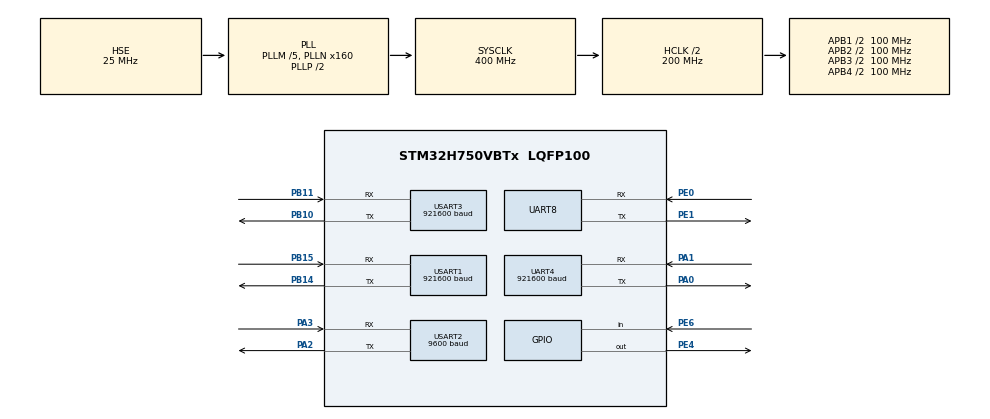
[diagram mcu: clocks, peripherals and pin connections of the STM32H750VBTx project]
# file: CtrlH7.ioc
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Dma.USART1_TX.1.Polarity=HAL_DMAMUX_REQ_GEN_RISING
Dma.UART4_TX.5.Instance=DMA1_Stream5
VP_SYS_VS_tim6.Mode=TIM6
Dma.USART2_TX.8.SyncEnable=DISABLE
Dma.UART8_RX.6.MemDataAlignment=DMA_MDATAALIGN_BYTE
PB10.Mode=Asynchronous
NVIC.TIM6_DAC_IRQn=true\:0\:0\:false\:false\:true\:false\:false\:true
Dma.UART4_TX.5.MemDataAlignment=DMA_MDATAALIGN_BYTE
Dma.USART2_RX.2.SignalID=NONE
NVIC.DMA1_Stream2_IRQn=true\:5\:0\:false\:false\:true\:true\:false\:true
Dma.USART3_RX.3.SyncEnable=DISABLE
Dma.USART2_TX.8.EventEnable=DISABLE
Dma.USART2_TX.8.Mode=DMA_NORMAL
RCC.SYSCLKSource=RCC_SYSCLKSOURCE_PLLCLK
IWDG1.Reload=4095
USART3.VirtualMode-Asynchronous=VM_ASYNC
Dma.UART4_TX.5.SignalID=NONE
FREERTOS.configENABLE_FPU=1
PA14\ (JTCK/SWCLK).Signal=DEBUG_JTCK-SWCLK
USART3.BaudRate=921600
Dma.USART3_RX.3.PeriphDataAlignment=DMA_PDATAALIGN_BYTE
Dma.UART8_RX.6.EventEnable=DISABLE
Dma.UART4_RX.4.SyncEnable=DISABLE
Dma.USART2_RX.2.Priority=DMA_PRIORITY_LOW
Dma.UART4_TX.5.Priority=DMA_PRIORITY_LOW
PE1.Signal=UART8_TX
Dma.UART8_TX.7.Polarity=HAL_DMAMUX_REQ_GEN_RISING
RCC.DIVM3=25
RCC.DIVM2=2
RCC.DIVM1=5
Dma.UART8_TX.7.PeriphDataAlignment=DMA_PDATAALIGN_BYTE
Dma.UART8_TX.7.SyncSignalID=NONE
Dma.USART2_RX.2.EventEnable=DISABLE
Dma.USART2_TX.8.SyncPolarity=HAL_DMAMUX_SYNC_NO_EVENT
PB14.Mode=Asynchronous
PA0.Mode=Asynchronous
Dma.USART1_RX.0.SyncEnable=DISABLE
Dma.USART3_RX.3.PeriphInc=DMA_PINC_DISABLE
Dma.UART8_TX.7.MemInc=DMA_MINC_ENABLE
Dma.UART8_RX.6.SyncPolarity=HAL_DMAMUX_SYNC_NO_EVENT
PA14\ (JTCK/SWCLK).Mode=Serial_Wire
Dma.UART8_RX.6.SyncEnable=DISABLE
VP_FREERTOS_VS_CMSIS_V1.Mode=CMSIS_V1
PA0.Signal=UART4_TX
Dma.UART8_TX.7.EventEnable=DISABLE
Mcu.Package=LQFP100
NVIC.TimeBase=TIM6_DAC_IRQn
Dma.UART4_RX.4.PeriphInc=DMA_PINC_DISABLE
Dma.UART4_RX.4.Polarity=HAL_DMAMUX_REQ_GEN_RISING
Dma.USART2_TX.8.MemDataAlignment=DMA_MDATAALIGN_BYTE
NVIC.TimeBaseIP=TIM6
Dma.USART2_RX.2.Direction=DMA_PERIPH_TO_MEMORY
Dma.USART3_RX.3.MemInc=DMA_MINC_ENABLE
Dma.UART4_RX.4.Mode=DMA_NORMAL
Dma.UART4_TX.5.FIFOMode=DMA_FIFOMODE_DISABLE
PC14-OSC32_IN\ (OSC32_IN).Mode=LSE-External-Oscillator
RCC.APB4Freq_Value=100000000
Dma.USART2_TX.8.Priority=DMA_PRIORITY_LOW
Dma.USART2_TX.8.PeriphInc=DMA_PINC_DISABLE
NVIC.USART1_IRQn=true\:5\:0\:false\:false\:true\:true\:true\:true
NVIC.DMA1_Stream6_IRQn=true\:5\:0\:false\:false\:true\:true\:false\:true
PH0-OSC_IN\ (PH0).Mode=HSE-External-Oscillator
RCC.SupplySource=PWR_LDO_SUPPLY
NVIC.UART4_IRQn=true\:5\:0\:false\:false\:true\:true\:true\:true
Dma.UART8_RX.6.SyncRequestNumber=1
NVIC.UART8_IRQn=true\:5\:0\:false\:false\:true\:true\:true\:true
RCC.DIVQ2=1
RCC.DIVQ1=6
FREERTOS.Tasks01=EmptyTask,-3,128,EmptyTaskFunction,Default,NULL,Dynamic,NULL,NULL;SensorTask,0,128,SensorTaskFunction,Default,NULL,Dynamic,NULL,NULL;UptoBaseTask,0,128,UptoBaseTaskFunction,Default,NULL,Dynamic,NULL,NULL;BasetoUpTask,0,128,BasetoUpTaskFunction,Default,NULL,Dynamic,NULL,NULL
Dma.USART2_TX.8.SignalID=NONE
Dma.UART8_TX.7.FIFOMode=DMA_FIFOMODE_DISABLE
PE1.Mode=Asynchronous
Dma.UART4_RX.4.SignalID=NONE
Dma.UART4_RX.4.MemInc=DMA_MINC_ENABLE
USART2.BaudRate=9600
Dma.UART4_TX.5.Polarity=HAL_DMAMUX_REQ_GEN_RISING
Dma.USART2_RX.2.Mode=DMA_NORMAL
Dma.USART1_TX.1.SyncSignalID=NONE
PA3.Mode=Asynchronous
Dma.UART8_TX.7.Instance=DMA1_Stream7
Dma.USART2_TX.8.Instance=DMA2_Stream0
Dma.USART3_RX.3.SyncRequestNumber=1
PB11.Mode=Asynchronous
Dma.USART1_RX.0.SyncRequestNumber=1
Dma.UART8_TX.7.SyncEnable=DISABLE
Dma.USART1_RX.0.Direction=DMA_PERIPH_TO_MEMORY
Dma.USART3_RX.3.FIFOMode=DMA_FIFOMODE_DISABLE
Dma.USART2_TX.8.SyncSignalID=NONE
RCC.DIVN3=192
RCC.DIVN2=12
Dma.USART2_TX.8.FIFOMode=DMA_FIFOMODE_DISABLE
RCC.DIVN1=160
Dma.USART1_TX.1.SyncEnable=DISABLE
Dma.USART1_RX.0.PeriphInc=DMA_PINC_DISABLE
PB10.Signal=USART3_TX
PB14.Signal=USART1_TX
Dma.USART1_TX.1.MemDataAlignment=DMA_MDATAALIGN_BYTE
Dma.USART2_TX.8.Direction=DMA_MEMORY_TO_PERIPH
PA1.Mode=Asynchronous
Dma.UART8_RX.6.Polarity=HAL_DMAMUX_REQ_GEN_RISING
Dma.UART4_TX.5.RequestNumber=1
Dma.UART8_TX.7.Direction=DMA_MEMORY_TO_PERIPH
Dma.USART1_RX.0.SyncPolarity=HAL_DMAMUX_SYNC_NO_EVENT
Dma.UART4_TX.5.MemInc=DMA_MINC_ENABLE
Dma.USART1_RX.0.SyncSignalID=NONE
Dma.USART1_TX.1.Mode=DMA_NORMAL
Dma.UART4_RX.4.MemDataAlignment=DMA_MDATAALIGN_BYTE
ProjectManager.HeapSize=0x200
Dma.UART4_RX.4.Priority=DMA_PRIORITY_LOW
Dma.UART8_RX.6.PeriphInc=DMA_PINC_DISABLE
FREERTOS.Mutexes01=DeepIO,Dynamic,NULL;GY39IO,Dynamic,NULL;WT931IO,Dynamic,NULL;UpIO,Dynamic,NULL;DownIO,Dynamic,NULL;DownEn,Dynamic,NULL
NVIC.PriorityGroup=NVIC_PRIORITYGROUP_4
RCC.USART234578CLockSelection=RCC_USART234578CLKSOURCE_PLL3
Dma.UART4_RX.4.Direction=DMA_PERIPH_TO_MEMORY
Dma.USART2_RX.2.SyncEnable=DISABLE
PA13\ (JTMS/SWDIO).Signal=DEBUG_JTMS-SWDIO
Dma.USART2_RX.2.RequestNumber=1
Mcu.Family=STM32H7
NVIC.USART3_IRQn=true\:5\:0\:false\:false\:true\:true\:true\:true
Dma.USART2_RX.2.PeriphDataAlignment=DMA_PDATAALIGN_BYTE
RCC.CortexFreq_Value=400000000
FREERTOS.BinarySemaphores01=UpSideFinish,Dynamic,NULL;DownSideFinish,Dynamic,NULL;DeepFinish,Dynamic,NULL;GY39Finish,Dynamic,NULL;WT931Finish,Dynamic,NULL
Dma.UART8_RX.6.Mode=DMA_NORMAL
Dma.UART8_RX.6.SyncSignalID=NONE
Dma.USART1_TX.1.MemInc=DMA_MINC_ENABLE
Dma.USART1_TX.1.SyncPolarity=HAL_DMAMUX_SYNC_NO_EVENT
RCC.HPRE=RCC_HCLK_DIV2
Dma.UART8_RX.6.PeriphDataAlignment=DMA_PDATAALIGN_BYTE
Dma.USART1_RX.0.EventEnable=DISABLE
PH0-OSC_IN\ (PH0).Signal=RCC_OSC_IN
Dma.USART2_RX.2.SyncSignalID=NONE
USART1.BaudRate=921600
Dma.UART8_RX.6.Priority=DMA_PRIORITY_LOW
PC15-OSC32_OUT\ (OSC32_OUT).Mode=LSE-External-Oscillator
Dma.USART1_RX.0.SignalID=NONE
Dma.UART4_TX.5.PeriphInc=DMA_PINC_DISABLE
Dma.UART4_TX.5.SyncEnable=DISABLE
Dma.UART4_TX.5.SyncPolarity=HAL_DMAMUX_SYNC_NO_EVENT
PB11.Signal=USART3_RX
NVIC.DMA1_Stream4_IRQn=true\:5\:0\:false\:false\:true\:true\:false\:true
PB15.Signal=USART1_RX
Dma.USART3_RX.3.Mode=DMA_NORMAL
ProjectManager.StackSize=0x400
Dma.USART3_RX.3.MemDataAlignment=DMA_MDATAALIGN_BYTE
Dma.USART2_TX.8.Polarity=HAL_DMAMUX_REQ_GEN_RISING
Dma.UART8_TX.7.RequestNumber=1
IWDG1.Window=4095
UART4.BaudRate=921600
RCC.HCLKFreq_Value=200000000
Dma.UART4_TX.5.EventEnable=DISABLE
Dma.UART8_RX.6.SignalID=NONE
Dma.USART2_RX.2.MemDataAlignment=DMA_MDATAALIGN_BYTE
NVIC.DMA2_Stream0_IRQn=true\:5\:0\:false\:false\:true\:true\:false\:true
Dma.UART4_RX.4.SyncSignalID=NONE
Dma.USART1_RX.0.Priority=DMA_PRIORITY_LOW
Dma.UART8_TX.7.SyncPolarity=HAL_DMAMUX_SYNC_NO_EVENT
PH1-OSC_OUT\ (PH1).Mode=HSE-External-Oscillator
Dma.USART3_RX.3.Instance=DMA1_Stream3
USART2.VirtualMode-Asynchronous=VM_ASYNC
Dma.UART4_RX.4.EventEnable=DISABLE
Dma.UART4_TX.5.Direction=DMA_MEMORY_TO_PERIPH
VP_IWDG1_VS_IWDG.Mode=IWDG_Activate
Dma.USART3_RX.3.Polarity=HAL_DMAMUX_REQ_GEN_RISING
Dma.UART8_RX.6.Instance=DMA1_Stream6
Dma.USART1_RX.0.MemInc=DMA_MINC_ENABLE
Dma.UART4_TX.5.SyncRequestNumber=1
PE4.Signal=GPIO_Output
Dma.UART8_TX.7.Mode=DMA_NORMAL
Dma.USART1_TX.1.PeriphDataAlignment=DMA_PDATAALIGN_BYTE
NVIC.DMA1_Stream7_IRQn=true\:5\:0\:false\:false\:true\:true\:false\:true
RCC.APB3Freq_Value=100000000
Dma.USART1_TX.1.RequestNumber=1
RCC.D1PPRE=RCC_APB3_DIV2
Dma.USART3_RX.3.SyncSignalID=NONE
Dma.USART2_RX.2.Polarity=HAL_DMAMUX_REQ_GEN_RISING
Dma.UART8_RX.6.RequestNumber=1
Dma.USART1_TX.1.SignalID=NONE
Dma.USART1_RX.0.FIFOMode=DMA_FIFOMODE_DISABLE
Dma.UART4_TX.5.PeriphDataAlignment=DMA_PDATAALIGN_BYTE
Dma.Request2=USART2_RX
Dma.Request1=USART1_TX
Dma.Request4=UART4_RX
Dma.Request3=USART3_RX
Dma.USART1_RX.0.Mode=DMA_NORMAL
Dma.Request6=UART8_RX
Dma.Request5=UART4_TX
Dma.USART1_TX.1.Priority=DMA_PRIORITY_LOW
NVIC.DMA1_Stream0_IRQn=true\:5\:0\:false\:false\:true\:true\:false\:true
Dma.Request8=USART2_TX
Dma.Request7=UART8_TX
Dma.Request0=USART1_RX
Dma.UART8_RX.6.FIFOMode=DMA_FIFOMODE_DISABLE
Dma.USART2_TX.8.PeriphDataAlignment=DMA_PDATAALIGN_BYTE
Dma.USART1_RX.0.Instance=DMA1_Stream0
Dma.UART8_RX.6.Direction=DMA_PERIPH_TO_MEMORY
PA3.Signal=USART2_RX
Dma.USART1_TX.1.Direction=DMA_MEMORY_TO_PERIPH
RCC.PLLSourceVirtual=RCC_PLLSOURCE_HSE
Dma.UART4_RX.4.PeriphDataAlignment=DMA_PDATAALIGN_BYTE
Dma.USART1_TX.1.Instance=DMA1_Stream1
Dma.UART8_TX.7.SignalID=NONE
Dma.USART3_RX.3.Direction=DMA_PERIPH_TO_MEMORY
CORTEX_M7.CPU_ICache=Enabled
Dma.USART1_RX.0.PeriphDataAlignment=DMA_PDATAALIGN_BYTE
PA13\ (JTMS/SWDIO).Mode=Serial_Wire
Dma.USART3_RX.3.SyncPolarity=HAL_DMAMUX_SYNC_NO_EVENT
Dma.UART4_RX.4.RequestNumber=1
Dma.USART2_TX.8.SyncRequestNumber=1
Dma.USART2_TX.8.MemInc=DMA_MINC_ENABLE
Dma.UART4_RX.4.FIFOMode=DMA_FIFOMODE_DISABLE
Dma.UART8_TX.7.Priority=DMA_PRIORITY_LOW
Dma.UART8_RX.6.MemInc=DMA_MINC_ENABLE
RCC.D2PPRE2=RCC_APB2_DIV2
RCC.D2PPRE1=RCC_APB1_DIV2
NVIC.DMA1_Stream1_IRQn=true\:5\:0\:false\:false\:true\:true\:false\:true
Dma.UART8_TX.7.PeriphInc=DMA_PINC_DISABLE
Dma.USART1_RX.0.RequestNumber=1
Dma.USART1_RX.0.Polarity=HAL_DMAMUX_REQ_GEN_RISING
NVIC.USART2_IRQn=true\:5\:0\:false\:false\:true\:true\:true\:true
PH1-OSC_OUT\ (PH1).Signal=RCC_OSC_OUT
Dma.USART2_RX.2.SyncPolarity=HAL_DMAMUX_SYNC_NO_EVENT
USART1.VirtualMode-Asynchronous=VM_ASYNC
Dma.USART2_RX.2.MemInc=DMA_MINC_ENABLE
ProjectManager.TargetToolchain=STM32CubeIDE
PC15-OSC32_OUT\ (OSC32_OUT).Signal=RCC_OSC32_OUT
NVIC.DMA1_Stream5_IRQn=true\:5\:0\:false\:false\:true\:true\:false\:true
Dma.UART4_RX.4.Instance=DMA1_Stream4
Dma.UART4_RX.4.SyncRequestNumber=1
Dma.USART1_TX.1.FIFOMode=DMA_FIFOMODE_DISABLE
RCC.USBFreq_Value=133333333.33333333
Dma.USART3_RX.3.EventEnable=DISABLE
PA1.Signal=UART4_RX
Dma.UART8_TX.7.SyncRequestNumber=1
board=custom
Dma.UART4_RX.4.SyncPolarity=HAL_DMAMUX_SYNC_NO_EVENT
PB15.Mode=Asynchronous
Dma.USART2_RX.2.PeriphInc=DMA_PINC_DISABLE
RCC.APB2Freq_Value=100000000
RCC.ADCFreq_Value=75000000
Dma.USART3_RX.3.RequestNumber=1
Dma.USART1_RX.0.MemDataAlignment=DMA_MDATAALIGN_BYTE
Dma.UART4_TX.5.SyncSignalID=NONE
Dma.USART1_TX.1.SyncRequestNumber=1
PE6.Signal=GPIO_Input
Dma.USART2_RX.2.SyncRequestNumber=1
Mcu.Name=STM32H750VBTx
PE0.Signal=UART8_RX
PA2.Signal=USART2_TX
RCC.SYSCLKFreq_VALUE=400000000
Dma.USART2_RX.2.Instance=DMA1_Stream2
PC14-OSC32_IN\ (OSC32_IN).Signal=RCC_OSC32_IN
RCC.QSPICLockSelection=RCC_QSPICLKSOURCE_PLL
Dma.USART3_RX.3.SignalID=NONE
Dma.USART1_TX.1.PeriphInc=DMA_PINC_DISABLE
Dma.USART1_TX.1.EventEnable=DISABLE
PA2.Mode=Asynchronous
Dma.USART3_RX.3.Priority=DMA_PRIORITY_LOW
Dma.USART2_TX.8.RequestNumber=1
NVIC.DMA1_Stream3_IRQn=true\:5\:0\:false\:false\:true\:true\:false\:true
RCC.D3PPRE=RCC_APB4_DIV2
Dma.USART2_RX.2.FIFOMode=DMA_FIFOMODE_DISABLE
CORTEX_M7.CPU_DCache=Disabled
RCC.APB1Freq_Value=100000000
RCC.USART16CLockSelection=RCC_USART16CLKSOURCE_PLL3
PE0.Mode=Asynchronous
Dma.UART8_TX.7.MemDataAlignment=DMA_MDATAALIGN_BYTE
Dma.UART4_TX.5.Mode=DMA_NORMAL

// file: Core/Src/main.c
/* USER CODE BEGIN Header */
/**
 ******************************************************************************
 * @file           : main.c
 * @brief          : Main program body
 ******************************************************************************
 * @attention
 *
 * <h2><center>&copy; Copyright (c) 2021 STMicroelectronics.
 * All rights reserved.</center></h2>
 *
 * This software component is licensed by ST under Ultimate Liberty license
 * SLA0044, the "License"; You may not use this file except in compliance with
 * the License. You may obtain a copy of the License at:
 *                             www.st.com/SLA0044
 *
 ******************************************************************************
 */
/* USER CODE END Header */
#include "main.h"
#include "cmsis_os.h"

/* USER CODE BEGIN Includes */
#include "Sensor.h"
#include "BasicCtrl.h"
/* USER CODE END Includes */

IWDG_HandleTypeDef hiwdg1;

UART_HandleTypeDef huart4;
UART_HandleTypeDef huart8;
UART_HandleTypeDef huart1;
UART_HandleTypeDef huart2;
UART_HandleTypeDef huart3;
DMA_HandleTypeDef hdma_uart4_rx;
DMA_HandleTypeDef hdma_uart4_tx;
DMA_HandleTypeDef hdma_uart8_rx;
DMA_HandleTypeDef hdma_uart8_tx;
DMA_HandleTypeDef hdma_usart1_rx;
DMA_HandleTypeDef hdma_usart1_tx;
DMA_HandleTypeDef hdma_usart2_rx;
DMA_HandleTypeDef hdma_usart2_tx;
DMA_HandleTypeDef hdma_usart3_rx;

osThreadId EmptyTaskHandle;
osThreadId SensorTaskHandle;
osThreadId UptoBaseTaskHandle;
osThreadId BasetoUpTaskHandle;
osMutexId DeepIOHandle;
osMutexId GY39IOHandle;
osMutexId WT931IOHandle;
osMutexId UpIOHandle;
osMutexId DownIOHandle;
osMutexId DownEnHandle;
osSemaphoreId UpSideFinishHandle;
osSemaphoreId DownSideFinishHandle;
osSemaphoreId DeepFinishHandle;
osSemaphoreId GY39FinishHandle;
osSemaphoreId WT931FinishHandle;
/* USER CODE BEGIN PV */
DownDataDef UptoBaseData;
UpDataDef BasetoUpData;

DeepData DeepSensorData;
WT931Data WT931SensorData;
GY39Data GY39SensorData;
/* USER CODE END PV */

void SystemClock_Config(void);
void PeriphCommonClock_Config(void);
static void MX_GPIO_Init(void);
static void MX_DMA_Init(void);
static void MX_IWDG1_Init(void);
static void MX_UART4_Init(void);
static void MX_UART8_Init(void);
static void MX_USART1_UART_Init(void);
static void MX_USART2_UART_Init(void);
static void MX_USART3_UART_Init(void);
void EmptyTaskFunction(void const * argument);
void SensorTaskFunction(void const * argument);
void UptoBaseTaskFunction(void const * argument);
void BasetoUpTaskFunction(void const * argument);

int main(void)
{

  /* Enable I-Cache---------------------------------------------------------*/
  SCB_EnableICache();

  /* MCU Configuration--------------------------------------------------------*/

  /* Reset of all peripherals, Initializes the Flash interface and the Systick. */
  HAL_Init();

  /* Configure the system clock */
  SystemClock_Config();

/* Configure the peripherals common clocks */
  PeriphCommonClock_Config();

  /* Initialize all configured peripherals */
  MX_GPIO_Init();
  MX_DMA_Init();
  MX_IWDG1_Init();
  MX_UART4_Init();
  MX_UART8_Init();
  MX_USART1_UART_Init();
  MX_USART2_UART_Init();
  MX_USART3_UART_Init();
  /* USER CODE BEGIN 2 */
	//初始化下位机
	HAL_GPIO_WritePin(GPIOE, GPIO_PIN_4, GPIO_PIN_RESET);
	HAL_GPIO_WritePin(GPIOE, GPIO_PIN_4, GPIO_PIN_SET);
  /* USER CODE END 2 */

  /* Create the mutex(es) */
  /* definition and creation of DeepIO */
  osMutexDef(DeepIO);
  DeepIOHandle = osMutexCreate(osMutex(DeepIO));

  /* definition and creation of GY39IO */
  osMutexDef(GY39IO);
  GY39IOHandle = osMutexCreate(osMutex(GY39IO));

  /* definition and creation of WT931IO */
  osMutexDef(WT931IO);
  WT931IOHandle = osMutexCreate(osMutex(WT931IO));

  /* definition and creation of UpIO */
  osMutexDef(UpIO);
  UpIOHandle = osMutexCreate(osMutex(UpIO));

  /* definition and creation of DownIO */
  osMutexDef(DownIO);
  DownIOHandle = osMutexCreate(osMutex(DownIO));

  /* definition and creation of DownEn */
  osMutexDef(DownEn);
  DownEnHandle = osMutexCreate(osMutex(DownEn));

  /* Create the semaphores(s) */
  /* definition and creation of UpSideFinish */
  osSemaphoreDef(UpSideFinish);
  UpSideFinishHandle = osSemaphoreCreate(osSemaphore(UpSideFinish), 1);

  /* definition and creation of DownSideFinish */
  osSemaphoreDef(DownSideFinish);
  DownSideFinishHandle = osSemaphoreCreate(osSemaphore(DownSideFinish), 1);

  /* definition and creation of DeepFinish */
  osSemaphoreDef(DeepFinish);
  DeepFinishHandle = osSemaphoreCreate(osSemaphore(DeepFinish), 1);

  /* definition and creation of GY39Finish */
  osSemaphoreDef(GY39Finish);
  GY39FinishHandle = osSemaphoreCreate(osSemaphore(GY39Finish), 1);

  /* definition and creation of WT931Finish */
  osSemaphoreDef(WT931Finish);
  WT931FinishHandle = osSemaphoreCreate(osSemaphore(WT931Finish), 1);

  /* Create the thread(s) */
  /* definition and creation of EmptyTask */
  osThreadDef(EmptyTask, EmptyTaskFunction, osPriorityIdle, 0, 128);
  EmptyTaskHandle = osThreadCreate(osThread(EmptyTask), NULL);

  /* definition and creation of SensorTask */
  osThreadDef(SensorTask, SensorTaskFunction, osPriorityNormal, 0, 128);
  SensorTaskHandle = osThreadCreate(osThread(SensorTask), NULL);

  /* definition and creation of UptoBaseTask */
  osThreadDef(UptoBaseTask, UptoBaseTaskFunction, osPriorityNormal, 0, 128);
  UptoBaseTaskHandle = osThreadCreate(osThread(UptoBaseTask), NULL);

  /* definition and creation of BasetoUpTask */
  osThreadDef(BasetoUpTask, BasetoUpTaskFunction, osPriorityNormal, 0, 128);
  BasetoUpTaskHandle = osThreadCreate(osThread(BasetoUpTask), NULL);

  /* Start scheduler */
  osKernelStart();

  /* We should never get here as control is now taken by the scheduler */
  /* Infinite loop */
	while (1)
	{

	}
}

void SystemClock_Config(void)
{
  RCC_OscInitTypeDef RCC_OscInitStruct = {0};
  RCC_ClkInitTypeDef RCC_ClkInitStruct = {0};

  /** Supply configuration update enable
  */
  HAL_PWREx_ConfigSupply(PWR_LDO_SUPPLY);
  /** Configure the main internal regulator output voltage
  */
  __HAL_PWR_VOLTAGESCALING_CONFIG(PWR_REGULATOR_VOLTAGE_SCALE1);

  while(!__HAL_PWR_GET_FLAG(PWR_FLAG_VOSRDY)) {}
  /** Macro to configure the PLL clock source
  */
  __HAL_RCC_PLL_PLLSOURCE_CONFIG(RCC_PLLSOURCE_HSE);
  /** Initializes the RCC Oscillators according to the specified parameters
  * in the RCC_OscInitTypeDef structure.
  */
  RCC_OscInitStruct.OscillatorType = RCC_OSCILLATORTYPE_LSI|RCC_OSCILLATORTYPE_HSE;
  RCC_OscInitStruct.HSEState = RCC_HSE_ON;
  RCC_OscInitStruct.LSIState = RCC_LSI_ON;
  RCC_OscInitStruct.PLL.PLLState = RCC_PLL_ON;
  RCC_OscInitStruct.PLL.PLLSource = RCC_PLLSOURCE_HSE;
  RCC_OscInitStruct.PLL.PLLM = 5;
  RCC_OscInitStruct.PLL.PLLN = 160;
  RCC_OscInitStruct.PLL.PLLP = 2;
  RCC_OscInitStruct.PLL.PLLQ = 6;
  RCC_OscInitStruct.PLL.PLLR = 2;
  RCC_OscInitStruct.PLL.PLLRGE = RCC_PLL1VCIRANGE_2;
  RCC_OscInitStruct.PLL.PLLVCOSEL = RCC_PLL1VCOWIDE;
  RCC_OscInitStruct.PLL.PLLFRACN = 0;
  if (HAL_RCC_OscConfig(&RCC_OscInitStruct) != HAL_OK)
  {
    Error_Handler();
  }
  /** Initializes the CPU, AHB and APB buses clocks
  */
  RCC_ClkInitStruct.ClockType = RCC_CLOCKTYPE_HCLK|RCC_CLOCKTYPE_SYSCLK
                              |RCC_CLOCKTYPE_PCLK1|RCC_CLOCKTYPE_PCLK2
                              |RCC_CLOCKTYPE_D3PCLK1|RCC_CLOCKTYPE_D1PCLK1;
  RCC_ClkInitStruct.SYSCLKSource = RCC_SYSCLKSOURCE_PLLCLK;
  RCC_ClkInitStruct.SYSCLKDivider = RCC_SYSCLK_DIV1;
  RCC_ClkInitStruct.AHBCLKDivider = RCC_HCLK_DIV2;
  RCC_ClkInitStruct.APB3CLKDivider = RCC_APB3_DIV2;
  RCC_ClkInitStruct.APB1CLKDivider = RCC_APB1_DIV2;
  RCC_ClkInitStruct.APB2CLKDivider = RCC_APB2_DIV2;
  RCC_ClkInitStruct.APB4CLKDivider = RCC_APB4_DIV2;

  if (HAL_RCC_ClockConfig(&RCC_ClkInitStruct, FLASH_LATENCY_2) != HAL_OK)
  {
    Error_Handler();
  }
}

void PeriphCommonClock_Config(void)
{
  RCC_PeriphCLKInitTypeDef PeriphClkInitStruct = {0};

  /** Initializes the peripherals clock
  */
  PeriphClkInitStruct.PeriphClockSelection = RCC_PERIPHCLK_UART8|RCC_PERIPHCLK_USART1
                              |RCC_PERIPHCLK_UART4|RCC_PERIPHCLK_USART2
                              |RCC_PERIPHCLK_USART3;
  PeriphClkInitStruct.PLL3.PLL3M = 25;
  PeriphClkInitStruct.PLL3.PLL3N = 192;
  PeriphClkInitStruct.PLL3.PLL3P = 2;
  PeriphClkInitStruct.PLL3.PLL3Q = 2;
  PeriphClkInitStruct.PLL3.PLL3R = 2;
  PeriphClkInitStruct.PLL3.PLL3RGE = RCC_PLL3VCIRANGE_0;
  PeriphClkInitStruct.PLL3.PLL3VCOSEL = RCC_PLL3VCOWIDE;
  PeriphClkInitStruct.PLL3.PLL3FRACN = 0;
  PeriphClkInitStruct.Usart234578ClockSelection = RCC_USART234578CLKSOURCE_PLL3;
  PeriphClkInitStruct.Usart16ClockSelection = RCC_USART16CLKSOURCE_PLL3;
  if (HAL_RCCEx_PeriphCLKConfig(&PeriphClkInitStruct) != HAL_OK)
  {
    Error_Handler();
  }
}

static void MX_IWDG1_Init(void)
{

  hiwdg1.Instance = IWDG1;
  hiwdg1.Init.Prescaler = IWDG_PRESCALER_4;
  hiwdg1.Init.Window = 4095;
  hiwdg1.Init.Reload = 4095;
  if (HAL_IWDG_Init(&hiwdg1) != HAL_OK)
  {
    Error_Handler();
  }

}

static void MX_UART4_Init(void)
{

  huart4.Instance = UART4;
  huart4.Init.BaudRate = 921600;
  huart4.Init.WordLength = UART_WORDLENGTH_8B;
  huart4.Init.StopBits = UART_STOPBITS_1;
  huart4.Init.Parity = UART_PARITY_NONE;
  huart4.Init.Mode = UART_MODE_TX_RX;
  huart4.Init.HwFlowCtl = UART_HWCONTROL_NONE;
  huart4.Init.OverSampling = UART_OVERSAMPLING_16;
  huart4.Init.OneBitSampling = UART_ONE_BIT_SAMPLE_DISABLE;
  huart4.Init.ClockPrescaler = UART_PRESCALER_DIV1;
  huart4.AdvancedInit.AdvFeatureInit = UART_ADVFEATURE_NO_INIT;
  if (HAL_UART_Init(&huart4) != HAL_OK)
  {
    Error_Handler();
  }
  if (HAL_UARTEx_SetTxFifoThreshold(&huart4, UART_TXFIFO_THRESHOLD_1_8) != HAL_OK)
  {
    Error_Handler();
  }
  if (HAL_UARTEx_SetRxFifoThreshold(&huart4, UART_RXFIFO_THRESHOLD_1_8) != HAL_OK)
  {
    Error_Handler();
  }
  if (HAL_UARTEx_DisableFifoMode(&huart4) != HAL_OK)
  {
    Error_Handler();
  }

}

static void MX_UART8_Init(void)
{

  huart8.Instance = UART8;
  huart8.Init.BaudRate = 115200;
  huart8.Init.WordLength = UART_WORDLENGTH_8B;
  huart8.Init.StopBits = UART_STOPBITS_1;
  huart8.Init.Parity = UART_PARITY_NONE;
  huart8.Init.Mode = UART_MODE_TX_RX;
  huart8.Init.HwFlowCtl = UART_HWCONTROL_NONE;
  huart8.Init.OverSampling = UART_OVERSAMPLING_16;
  huart8.Init.OneBitSampling = UART_ONE_BIT_SAMPLE_DISABLE;
  huart8.Init.ClockPrescaler = UART_PRESCALER_DIV1;
  huart8.AdvancedInit.AdvFeatureInit = UART_ADVFEATURE_NO_INIT;
  if (HAL_UART_Init(&huart8) != HAL_OK)
  {
    Error_Handler();
  }
  if (HAL_UARTEx_SetTxFifoThreshold(&huart8, UART_TXFIFO_THRESHOLD_1_8) != HAL_OK)
  {
    Error_Handler();
  }
  if (HAL_UARTEx_SetRxFifoThreshold(&huart8, UART_RXFIFO_THRESHOLD_1_8) != HAL_OK)
  {
    Error_Handler();
  }
  if (HAL_UARTEx_DisableFifoMode(&huart8) != HAL_OK)
  {
    Error_Handler();
  }

}

static void MX_USART1_UART_Init(void)
{

  huart1.Instance = USART1;
  huart1.Init.BaudRate = 921600;
  huart1.Init.WordLength = UART_WORDLENGTH_8B;
  huart1.Init.StopBits = UART_STOPBITS_1;
  huart1.Init.Parity = UART_PARITY_NONE;
  huart1.Init.Mode = UART_MODE_TX_RX;
  huart1.Init.HwFlowCtl = UART_HWCONTROL_NONE;
  huart1.Init.OverSampling = UART_OVERSAMPLING_16;
  huart1.Init.OneBitSampling = UART_ONE_BIT_SAMPLE_DISABLE;
  huart1.Init.ClockPrescaler = UART_PRESCALER_DIV1;
  huart1.AdvancedInit.AdvFeatureInit = UART_ADVFEATURE_NO_INIT;
  if (HAL_UART_Init(&huart1) != HAL_OK)
  {
    Error_Handler();
  }
  if (HAL_UARTEx_SetTxFifoThreshold(&huart1, UART_TXFIFO_THRESHOLD_1_8) != HAL_OK)
  {
    Error_Handler();
  }
  if (HAL_UARTEx_SetRxFifoThreshold(&huart1, UART_RXFIFO_THRESHOLD_1_8) != HAL_OK)
  {
    Error_Handler();
  }
  if (HAL_UARTEx_DisableFifoMode(&huart1) != HAL_OK)
  {
    Error_Handler();
  }

}

static void MX_USART2_UART_Init(void)
{

  huart2.Instance = USART2;
  huart2.Init.BaudRate = 9600;
  huart2.Init.WordLength = UART_WORDLENGTH_8B;
  huart2.Init.StopBits = UART_STOPBITS_1;
  huart2.Init.Parity = UART_PARITY_NONE;
  huart2.Init.Mode = UART_MODE_TX_RX;
  huart2.Init.HwFlowCtl = UART_HWCONTROL_NONE;
  huart2.Init.OverSampling = UART_OVERSAMPLING_16;
  huart2.Init.OneBitSampling = UART_ONE_BIT_SAMPLE_DISABLE;
  huart2.Init.ClockPrescaler = UART_PRESCALER_DIV1;
  huart2.AdvancedInit.AdvFeatureInit = UART_ADVFEATURE_NO_INIT;
  if (HAL_UART_Init(&huart2) != HAL_OK)
  {
    Error_Handler();
  }
  if (HAL_UARTEx_SetTxFifoThreshold(&huart2, UART_TXFIFO_THRESHOLD_1_8) != HAL_OK)
  {
    Error_Handler();
  }
  if (HAL_UARTEx_SetRxFifoThreshold(&huart2, UART_RXFIFO_THRESHOLD_1_8) != HAL_OK)
  {
    Error_Handler();
  }
  if (HAL_UARTEx_DisableFifoMode(&huart2) != HAL_OK)
  {
    Error_Handler();
  }

}

static void MX_USART3_UART_Init(void)
{

  huart3.Instance = USART3;
  huart3.Init.BaudRate = 921600;
  huart3.Init.WordLength = UART_WORDLENGTH_8B;
  huart3.Init.StopBits = UART_STOPBITS_1;
  huart3.Init.Parity = UART_PARITY_NONE;
  huart3.Init.Mode = UART_MODE_TX_RX;
  huart3.Init.HwFlowCtl = UART_HWCONTROL_NONE;
  huart3.Init.OverSampling = UART_OVERSAMPLING_16;
  huart3.Init.OneBitSampling = UART_ONE_BIT_SAMPLE_DISABLE;
  huart3.Init.ClockPrescaler = UART_PRESCALER_DIV1;
  huart3.AdvancedInit.AdvFeatureInit = UART_ADVFEATURE_NO_INIT;
  if (HAL_UART_Init(&huart3) != HAL_OK)
  {
    Error_Handler();
  }
  if (HAL_UARTEx_SetTxFifoThreshold(&huart3, UART_TXFIFO_THRESHOLD_1_8) != HAL_OK)
  {
    Error_Handler();
  }
  if (HAL_UARTEx_SetRxFifoThreshold(&huart3, UART_RXFIFO_THRESHOLD_1_8) != HAL_OK)
  {
    Error_Handler();
  }
  if (HAL_UARTEx_DisableFifoMode(&huart3) != HAL_OK)
  {
    Error_Handler();
  }

}

static void MX_DMA_Init(void)
{

  /* DMA controller clock enable */
  __HAL_RCC_DMA1_CLK_ENABLE();
  __HAL_RCC_DMA2_CLK_ENABLE();

  /* DMA interrupt init */
  /* DMA1_Stream0_IRQn interrupt configuration */
  HAL_NVIC_SetPriority(DMA1_Stream0_IRQn, 5, 0);
  HAL_NVIC_EnableIRQ(DMA1_Stream0_IRQn);
  /* DMA1_Stream1_IRQn interrupt configuration */
  HAL_NVIC_SetPriority(DMA1_Stream1_IRQn, 5, 0);
  HAL_NVIC_EnableIRQ(DMA1_Stream1_IRQn);
  /* DMA1_Stream2_IRQn interrupt configuration */
  HAL_NVIC_SetPriority(DMA1_Stream2_IRQn, 5, 0);
  HAL_NVIC_EnableIRQ(DMA1_Stream2_IRQn);
  /* DMA1_Stream3_IRQn interrupt configuration */
  HAL_NVIC_SetPriority(DMA1_Stream3_IRQn, 5, 0);
  HAL_NVIC_EnableIRQ(DMA1_Stream3_IRQn);
  /* DMA1_Stream4_IRQn interrupt configuration */
  HAL_NVIC_SetPriority(DMA1_Stream4_IRQn, 5, 0);
  HAL_NVIC_EnableIRQ(DMA1_Stream4_IRQn);
  /* DMA1_Stream5_IRQn interrupt configuration */
  HAL_NVIC_SetPriority(DMA1_Stream5_IRQn, 5, 0);
  HAL_NVIC_EnableIRQ(DMA1_Stream5_IRQn);
  /* DMA1_Stream6_IRQn interrupt configuration */
  HAL_NVIC_SetPriority(DMA1_Stream6_IRQn, 5, 0);
  HAL_NVIC_EnableIRQ(DMA1_Stream6_IRQn);
  /* DMA1_Stream7_IRQn interrupt configuration */
  HAL_NVIC_SetPriority(DMA1_Stream7_IRQn, 5, 0);
  HAL_NVIC_EnableIRQ(DMA1_Stream7_IRQn);
  /* DMA2_Stream0_IRQn interrupt configuration */
  HAL_NVIC_SetPriority(DMA2_Stream0_IRQn, 5, 0);
  HAL_NVIC_EnableIRQ(DMA2_Stream0_IRQn);

}

static void MX_GPIO_Init(void)
{
  GPIO_InitTypeDef GPIO_InitStruct = {0};

  /* GPIO Ports Clock Enable */
  __HAL_RCC_GPIOE_CLK_ENABLE();
  __HAL_RCC_GPIOC_CLK_ENABLE();
  __HAL_RCC_GPIOH_CLK_ENABLE();
  __HAL_RCC_GPIOA_CLK_ENABLE();
  __HAL_RCC_GPIOB_CLK_ENABLE();

  /*Configure GPIO pin Output Level */
  HAL_GPIO_WritePin(GPIOE, GPIO_PIN_4, GPIO_PIN_RESET);

  /*Configure GPIO pin : PE4 */
  GPIO_InitStruct.Pin = GPIO_PIN_4;
  GPIO_InitStruct.Mode = GPIO_MODE_OUTPUT_PP;
  GPIO_InitStruct.Pull = GPIO_NOPULL;
  GPIO_InitStruct.Speed = GPIO_SPEED_FREQ_LOW;
  HAL_GPIO_Init(GPIOE, &GPIO_InitStruct);

  /*Configure GPIO pin : PE6 */
  GPIO_InitStruct.Pin = GPIO_PIN_6;
  GPIO_InitStruct.Mode = GPIO_MODE_INPUT;
  GPIO_InitStruct.Pull = GPIO_NOPULL;
  HAL_GPIO_Init(GPIOE, &GPIO_InitStruct);

}

void EmptyTaskFunction(void const * argument)
{
  /* USER CODE BEGIN 5 */
	/* Infinite loop */
	for (;;)
	{
		HAL_IWDG_Refresh(&hiwdg1);
	}
  /* USER CODE END 5 */
}

void SensorTaskFunction(void const * argument)
{
  /* USER CODE BEGIN SensorTaskFunction */
	//Finish:二进制信号量，串口传输结束位
	//IO:互斥信号量，读写保护�????
	InitGY39();
	osDelay(100);
	ReceiveDeep();
	ReceiveGY39();
	ReceiveWT931();
	osDelay(100);
	DeepSensorData = ReceiveDeep();
	GY39SensorData = ReceiveGY39();
	WT931SensorData = ReceiveWT931();
	osDelay(200);
	xSemaphoreGive(DeepIOHandle);
	xSemaphoreGive(GY39IOHandle);
	xSemaphoreGive(WT931IOHandle);
	/* Infinite loop */
	for (;;)
	{
		//收取深度数据
		if (xSemaphoreTake(DeepFinishHandle,portMAX_DELAY) == pdTRUE)
		{
			if (xSemaphoreTake(DeepIOHandle,portMAX_DELAY) == pdTRUE)
			{
				DeepSensorData = ReceiveDeep();
				xSemaphoreGive(DeepIOHandle);
			}
		}
		//收取九轴数据
		if (xSemaphoreTake(WT931FinishHandle,portMAX_DELAY) == pdTRUE)
		{
			if (xSemaphoreTake(WT931IOHandle,
					portMAX_DELAY) == pdTRUE)
			{
				WT931SensorData = ReceiveWT931();
				xSemaphoreGive(WT931IOHandle);
			}
		}
		//收取温湿度数�??
		if (xSemaphoreTake(GY39FinishHandle,portMAX_DELAY) == pdTRUE)
		{
			if (xSemaphoreTake(GY39IOHandle,
					portMAX_DELAY) == pdTRUE)
			{
				GY39SensorData = ReceiveGY39();
				xSemaphoreGive(GY39IOHandle);
			}
		}

		HAL_IWDG_Refresh(&hiwdg1);
	}
  /* USER CODE END SensorTaskFunction */
}

void UptoBaseTaskFunction(void const * argument)
{
  /* USER CODE BEGIN UptoBaseTaskFunction */
	//Finish:二进制信号量，串口传输结束位
	//IO:互斥信号量，读写保护�???
	u8 DIPFlag = 0;
	u16 DIPStartNum = 0; //PID定向定深预期�???

	CaptureDownData();
	osDelay(200);
	//打开串口接收
	UptoBaseData = CaptureDownData();
	xSemaphoreGive(UpIOHandle);
	/* Infinite loop */
	for (;;)
	{
		//接收上位机指令并下传到推进器控制�???
		//同时控制自主定向定深

		//收取上位机指�???
		if (xSemaphoreTake(UpSideFinishHandle,portMAX_DELAY) == pdTRUE)
		{
			if (xSemaphoreTake(UpIOHandle,
					portMAX_DELAY) == pdTRUE)
			{
				UptoBaseData = CaptureDownData();
				xSemaphoreGive(UpIOHandle);
			}
		}

		//根据控制位判断是否执行自主定向定�?
		if (UptoBaseData.Mode == 0b0010) // Mode & 0b0111 == 0b0010,使用定向模式
		{
			if (DIPFlag == 0)
			{
				DIPFlag = 1;
				DIPStartNum = WT931SensorData.EulNum[2];
			}
			SpecialMovePID(2, DIPStartNum, WT931SensorData.EulNum[2]); //PID定向
		}
		else if (UptoBaseData.Mode == 0b0100) // Mode & 0b0111 == 0b100,使用定深模式
		{
			if (DIPFlag == 0)
			{
				DIPFlag = 1;
				DIPStartNum = DeepSensorData.WaterDepth;
			}
			SpecialMovePID(4, DIPStartNum, DeepSensorData.WaterDepth); //PID定深
		}
		else
		{
			DIPFlag = 0; //不开启定向定�???
		}

		//下传指令
		if (xSemaphoreTake(DownSideFinishHandle,portMAX_DELAY) == pdTRUE)
		{
			if (xSemaphoreTake(DownIOHandle,
					portMAX_DELAY) == pdTRUE)
			{
				SendDownData(UptoBaseData);
				xSemaphoreGive(DownIOHandle);
			}
		}
		HAL_IWDG_Refresh(&hiwdg1);
		osDelay(1);
	}
  /* USER CODE END UptoBaseTaskFunction */
}

void BasetoUpTaskFunction(void const * argument)
{
  /* USER CODE BEGIN BasetoUpTaskFunction */
	//用于指示当前传输数据是哪个仓位的标志
	//置为1的时候表示推进器控制�???
	//置为0的时候表示主控仓
	volatile u8 SensorCarbin = 0;

	CaptureUpData();
	osDelay(200);
	//打开串口接收
	BasetoUpData = CaptureUpData();
	xSemaphoreGive(DownIOHandle);
	/* Infinite loop */
	for (;;)
	{
		//上传数据
		if (xSemaphoreTake(UpIOHandle,portMAX_DELAY) == pdTRUE)
		{
			//汇�?�传感器数据并上传到主控,循环发�?�不同的舱室数据
			if (SensorCarbin == 0) //发�?�推进器控制仓数�??
			{
				SensorCarbin = 1; //轮换要发送的仓位数据
				//收取下位仓上传数�???
				if (xSemaphoreTake(DownSideFinishHandle,portMAX_DELAY) == pdTRUE)
				{
					if (xSemaphoreTake(DownIOHandle,portMAX_DELAY) == pdTRUE)
					{
						BasetoUpData = CaptureUpData();
						xSemaphoreGive(DownIOHandle);
					}
				}
				SendUpData(BasetoUpData);
			}
			else //发�?�主控仓数据
			{
				SensorCarbin = 0; //轮换要发送的仓位数据
				//汇�?�本仓传感器数据
				//仓位数据
				BasetoUpData.CabinNum = 0;
				//漏水�???�???
				BasetoUpData.WaterDetect = HAL_GPIO_ReadPin(GPIOE, GPIO_PIN_6)
						<< 2;
				//九轴数据
				if (xSemaphoreTake(WT931IOHandle,
						portMAX_DELAY) == pdTRUE)
				{
					BasetoUpData.AccNum[0] = WT931SensorData.AccNum[0];
					BasetoUpData.AccNum[1] = WT931SensorData.AccNum[1];
					BasetoUpData.AccNum[2] = WT931SensorData.AccNum[2];
					BasetoUpData.RotNum[0] = WT931SensorData.RotNum[0];
					BasetoUpData.RotNum[1] = WT931SensorData.RotNum[1];
					BasetoUpData.RotNum[2] = WT931SensorData.RotNum[2];
					BasetoUpData.EulNum[0] = WT931SensorData.EulNum[0];
					BasetoUpData.EulNum[1] = WT931SensorData.EulNum[1];
					BasetoUpData.EulNum[2] = WT931SensorData.EulNum[2];
					BasetoUpData.MagNum[0] = WT931SensorData.MagNum[0];
					BasetoUpData.MagNum[1] = WT931SensorData.MagNum[1];
					BasetoUpData.MagNum[2] = WT931SensorData.MagNum[2];
					xSemaphoreGive(WT931IOHandle);
				}
				//温湿度大气压数据
				if (xSemaphoreTake(GY39IOHandle,
						portMAX_DELAY) == pdTRUE)
				{
					BasetoUpData.CabinBaro = GY39SensorData.Baro;
					BasetoUpData.CabinHum = GY39SensorData.Hum;
					BasetoUpData.CabinTemperature = GY39SensorData.Temperature;
					xSemaphoreGive(GY39IOHandle);
				}
				//水深水温数据
				if (xSemaphoreTake(DeepIOHandle,
						portMAX_DELAY) == pdTRUE)
				{
					BasetoUpData.WaterDepth = DeepSensorData.WaterDepth;
					BasetoUpData.WaterTemperature =
							DeepSensorData.WaterTemperature;
					xSemaphoreGive(DeepIOHandle);
				}
				SendUpData(BasetoUpData);
			}

			xSemaphoreGive(UpIOHandle);
		}

		HAL_IWDG_Refresh(&hiwdg1);
	}
  /* USER CODE END BasetoUpTaskFunction */
}

 /**
  * @brief  Period elapsed callback in non blocking mode
  * @note   This function is called  when TIM6 interrupt took place, inside
  * HAL_TIM_IRQHandler(). It makes a direct call to HAL_IncTick() to increment
  * a global variable "uwTick" used as application time base.
  * @param  htim : TIM handle
  * @retval None
  */
void HAL_TIM_PeriodElapsedCallback(TIM_HandleTypeDef *htim)
{
  if (htim->Instance == TIM6) {
    HAL_IncTick();
  }
}

void Error_Handler(void)
{
	__disable_irq();
	while (1)
	{
	}
}

/************************ (C) COPYRIGHT STMicroelectronics *****END OF FILE****/
